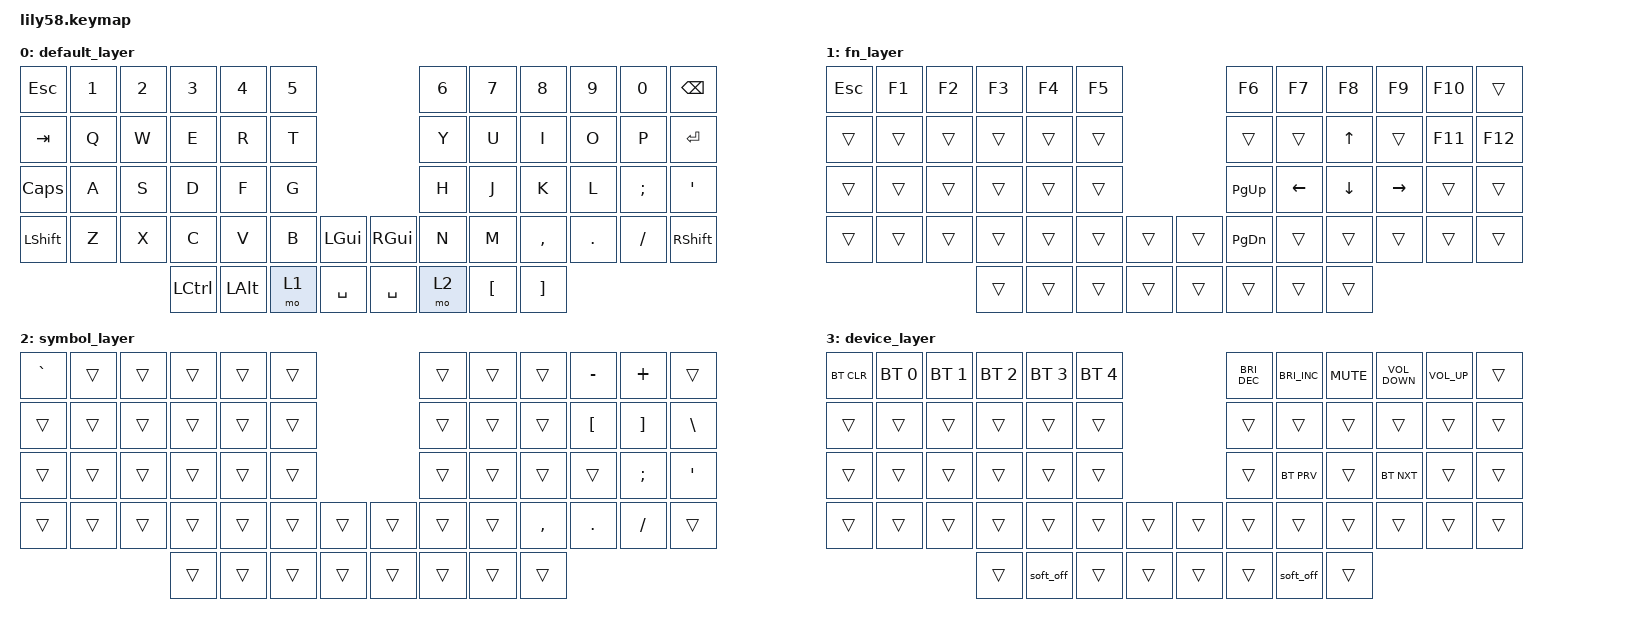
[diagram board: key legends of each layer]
/*
 * Copyright (c) 2020 The ZMK Contributors
 *
 * SPDX-License-Identifier: MIT
 */

#include <behaviors.dtsi>
#include <dt-bindings/zmk/bt.h>
#include <dt-bindings/zmk/keys.h>

/ {
    keymap {
        compatible = "zmk,keymap";

        default_layer {
            // ------------------------------------------------------------------------------------------------------------
            // |  ESC  |  1  |  2  |  3   |  4   |  5   |                   |  6   |  7    |  8    |  9   |   0   |   `   |
            // |  TAB  |  Q  |  W  |  E   |  R   |  T   |                   |  Y   |  U    |  I    |  O   |   P   |   -   |
            // |  CTRL |  A  |  S  |  D   |  F   |  G   |                   |  H   |  J    |  K    |  L   |   ;   |   '   |
            // | SHIFT |  Z  |  X  |  C   |  V   |  B   |   "["  |  |  "]"  |  N   |  M    |  ,    |  .   |   /   | SHIFT |
            //                     | ALT  | GUI  | LOWER|  SPACE |  | ENTER | RAISE| BSPC  | GUI   |

            bindings = <
&kp ESC       &kp N1  &kp N2  &kp N3     &kp N4    &kp N5                          &kp N6  &kp N7    &kp N8     &kp N9   &kp N0    &kp BACKSPACE
&kp TAB       &kp Q   &kp W   &kp E      &kp R     &kp T                           &kp Y   &kp U     &kp I      &kp O    &kp P     &kp ENTER
&kp CAPSLOCK  &kp A   &kp S   &kp D      &kp F     &kp G                           &kp H   &kp J     &kp K      &kp L    &kp SEMI  &kp SQT
&kp LSHFT     &kp Z   &kp X   &kp C      &kp V     &kp B   &kp LGUI     &kp RGUI   &kp N   &kp M     &kp COMMA  &kp DOT  &kp FSLH  &kp RSHFT
                              &kp LCTRL  &kp LALT  &mo 1   &kp SPACE    &kp SPACE  &mo 2   &kp LBKT  &kp RBKT
            >;
        };

        fn_layer {
            bindings = <
&kp ESC  &kp F1  &kp F2  &kp F3  &kp F4  &kp F5                    &kp F6         &kp F7    &kp F8    &kp F9     &kp F10  &trans
&trans   &trans  &trans  &trans  &trans  &trans                    &trans         &trans    &kp UP    &trans     &kp F11  &kp F12
&trans   &trans  &trans  &trans  &trans  &trans                    &kp PAGE_UP    &kp LEFT  &kp DOWN  &kp RIGHT  &trans   &trans
&trans   &trans  &trans  &trans  &trans  &trans  &trans    &trans  &kp PAGE_DOWN  &trans    &trans    &trans     &trans   &trans
                         &trans  &trans  &trans  &trans    &trans  &trans         &trans    &trans
            >;
        };

        symbol_layer {
            bindings = <
&kp GRAVE  &trans  &trans  &trans  &trans  &trans                    &trans  &trans  &trans     &kp MINUS  &kp PLUS       &trans
&trans     &trans  &trans  &trans  &trans  &trans                    &trans  &trans  &trans     &kp LBKT   &kp RBKT       &kp BSLH
&trans     &trans  &trans  &trans  &trans  &trans                    &trans  &trans  &trans     &trans     &kp SEMICOLON  &kp SQT
&trans     &trans  &trans  &trans  &trans  &trans  &trans    &trans  &trans  &trans  &kp COMMA  &kp DOT    &kp FSLH       &trans
                           &trans  &trans  &trans  &trans    &trans  &trans  &trans  &trans
            >;
        };

        device_layer {
            bindings = <
&bt BT_CLR  &bt BT_SEL 0  &bt BT_SEL 1  &bt BT_SEL 2  &bt BT_SEL 3  &bt BT_SEL 4                    &kp C_BRI_DEC  &kp C_BRIGHTNESS_INC  &kp K_MUTE  &kp C_VOLUME_DOWN  &kp C_VOLUME_UP  &trans
&trans      &trans        &trans        &trans        &trans        &trans                          &trans         &trans                &trans      &trans             &trans           &trans
&trans      &trans        &trans        &trans        &trans        &trans                          &trans         &bt BT_PRV            &trans      &bt BT_NXT         &trans           &trans
&trans      &trans        &trans        &trans        &trans        &trans        &trans    &trans  &trans         &trans                &trans      &trans             &trans           &trans
                                        &trans        &soft_off     &trans        &trans    &trans  &trans         &soft_off             &trans
            >;
        };
    };

    conditional_layers {
        compatible = "zmk,conditional-layers";

        bt_layer_condition {
            if-layers = <1 2>;
            then-layer = <3>;
        };
    };
};
